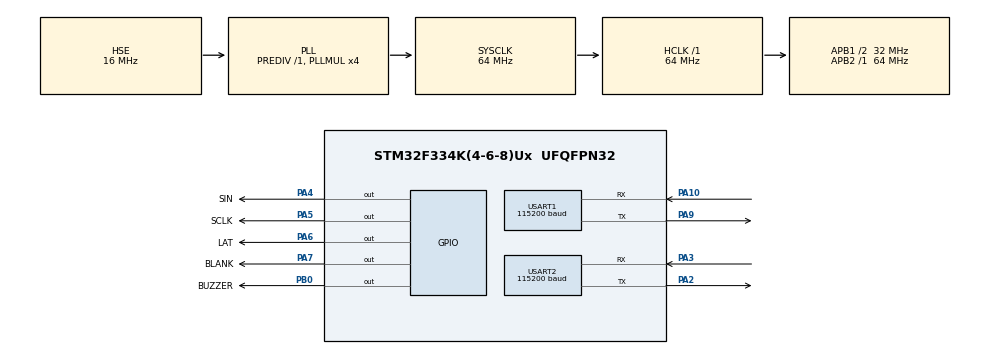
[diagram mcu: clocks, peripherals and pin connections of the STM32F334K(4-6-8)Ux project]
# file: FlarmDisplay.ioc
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Mcu.Family=STM32F3
Mcu.Name=STM32F334K(4-6-8)Ux
Mcu.Package=UFQFPN32
NVIC.PriorityGroup=NVIC_PRIORITYGROUP_4
PA10.Mode=Asynchronous
PA10.Signal=USART1_RX
PA13.Signal=SYS_JTMS-SWDIO
PA14.Signal=SYS_JTCK-SWCLK
PA2.Mode=Asynchronous
PA2.Signal=USART2_TX
PA3.Mode=Asynchronous
PA3.Signal=USART2_RX
PA4.GPIO_Label=SIN
PA4.GPIO_PuPd=GPIO_PULLDOWN
PA4.PinState=GPIO_PIN_RESET
PA4.Signal=GPIO_Output
PA5.GPIO_Label=SCLK
PA5.GPIO_PuPd=GPIO_PULLDOWN
PA5.PinState=GPIO_PIN_RESET
PA5.Signal=GPIO_Output
PA6.GPIO_Label=LAT
PA6.GPIO_PuPd=GPIO_PULLDOWN
PA6.PinState=GPIO_PIN_RESET
PA6.Signal=GPIO_Output
PA7.GPIO_Label=BLANK
PA7.GPIO_PuPd=GPIO_PULLDOWN
PA7.PinState=GPIO_PIN_RESET
PA7.Signal=GPIO_Output
PA9.Mode=Asynchronous
PA9.Signal=USART1_TX
PB0.GPIO_Label=BUZZER
PB0.GPIO_PuPd=GPIO_PULLDOWN
PB0.PinState=GPIO_PIN_RESET
PB0.Signal=GPIO_Output
PF0\ /\ OSC_IN.Mode=HSE-External-Oscillator
PF0\ /\ OSC_IN.Signal=RCC_OSC_IN
PF1\ /\ OSC_OUT.Mode=HSE-External-Oscillator
PF1\ /\ OSC_OUT.Signal=RCC_OSC_OUT
ProjectManager.HeapSize=0x200
ProjectManager.StackSize=0x400
ProjectManager.TargetToolchain=STM32CubeIDE
RCC.AHBFreq_Value=64000000
RCC.APB1CLKDivider=RCC_HCLK_DIV2
RCC.APB1Freq_Value=32000000
RCC.APB1TimFreq_Value=64000000
RCC.APB2Freq_Value=64000000
RCC.APB2TimFreq_Value=64000000
RCC.CortexFreq_Value=64000000
RCC.HCLKFreq_Value=64000000
RCC.HSE_VALUE=16000000
RCC.HSI_VALUE=8000000
RCC.PLLMUL=RCC_PLL_MUL4
RCC.PLLSourceVirtual=RCC_PLLSOURCE_HSE
RCC.SYSCLKFreq_VALUE=64000000
RCC.SYSCLKSourceVirtual=RCC_SYSCLKSOURCE_PLLCLK
USART1.BaudRate=115200
USART1.VirtualMode-Asynchronous=VM_ASYNC
USART2.BaudRate=115200
USART2.VirtualMode-Asynchronous=VM_ASYNC
board=custom

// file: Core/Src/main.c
/* USER CODE BEGIN Header */
/**
 ******************************************************************************
 * @file           : main.c
 * @brief          : Main program body
 ******************************************************************************
 * @attention
 *
 * Copyright (c) 2022 STMicroelectronics.
 * All rights reserved.
 *
 * This software is licensed under terms that can be found in the LICENSE file
 * in the root directory of this software component.
 * If no LICENSE file comes with this software, it is provided AS-IS.
 *
 ******************************************************************************
 */
/* USER CODE END Header */
#include "main.h"

/* USER CODE BEGIN Includes */
#include "flarm.h"
/* USER CODE END Includes */

UART_HandleTypeDef huart1;
UART_HandleTypeDef huart2;

/* USER CODE BEGIN PV */
struct LEDRegister LEDreg;
struct errorRegister errorReg;
enum errors errors;
/* USER CODE END PV */

void SystemClock_Config(void);
static void MX_GPIO_Init(void);
static void MX_USART1_UART_Init(void);
static void MX_USART2_UART_Init(void);
/* USER CODE BEGIN PFP */
void displayLEDBuffer(struct LEDRegister *reg);
void displayClockPulse();
void displayLatch();
void displayErrors();
/* USER CODE END PFP */

int main(void) {

	/* MCU Configuration--------------------------------------------------------*/

	/* Reset of all peripherals, Initializes the Flash interface and the Systick. */
	HAL_Init();

	/* Configure the system clock */
	SystemClock_Config();

	/* Initialize all configured peripherals */
	MX_GPIO_Init();
	MX_USART1_UART_Init();
	MX_USART2_UART_Init();
	/* USER CODE BEGIN 2 */

	uint8_t startMsg[] = "Starting...";
	HAL_UART_Transmit(&huart1, startMsg, sizeof(startMsg), 10);

	/* USER CODE END 2 */

	/* Infinite loop */
	/* USER CODE BEGIN WHILE */
	while (1) {
		//processPFLAE("$PFLAE,A,0,12,Supa message*50", &errorReg);
		LEDreg.R01 = 1;
		serializeLEDRegister(&LEDreg);
		displayLEDBuffer(&LEDreg);
		clearLEDRegister(&LEDreg);
		HAL_Delay(100);
		LEDreg.R02 = 1;
		serializeLEDRegister(&LEDreg);
		displayLEDBuffer(&LEDreg);
		clearLEDRegister(&LEDreg);
		HAL_Delay(100);
		LEDreg.R03 = 1;
		serializeLEDRegister(&LEDreg);
		displayLEDBuffer(&LEDreg);
		clearLEDRegister(&LEDreg);
		HAL_Delay(100);
		LEDreg.R04 = 1;
		serializeLEDRegister(&LEDreg);
		displayLEDBuffer(&LEDreg);
		clearLEDRegister(&LEDreg);
		HAL_Delay(100);
		LEDreg.R05 = 1;
		serializeLEDRegister(&LEDreg);
		displayLEDBuffer(&LEDreg);
		clearLEDRegister(&LEDreg);
		HAL_Delay(100);
		LEDreg.R06 = 1;
		serializeLEDRegister(&LEDreg);
		displayLEDBuffer(&LEDreg);
		clearLEDRegister(&LEDreg);
		HAL_Delay(100);
		LEDreg.R07 = 1;
		serializeLEDRegister(&LEDreg);
		displayLEDBuffer(&LEDreg);
		clearLEDRegister(&LEDreg);
		HAL_Delay(100);
		LEDreg.R08 = 1;
		serializeLEDRegister(&LEDreg);
		displayLEDBuffer(&LEDreg);
		clearLEDRegister(&LEDreg);
		HAL_Delay(100);
		LEDreg.R09 = 1;
		serializeLEDRegister(&LEDreg);
		displayLEDBuffer(&LEDreg);
		clearLEDRegister(&LEDreg);
		HAL_Delay(100);
		LEDreg.R10 = 1;
		serializeLEDRegister(&LEDreg);
		displayLEDBuffer(&LEDreg);
		clearLEDRegister(&LEDreg);
		HAL_Delay(100);
		LEDreg.R11 = 1;
		serializeLEDRegister(&LEDreg);
		displayLEDBuffer(&LEDreg);
		clearLEDRegister(&LEDreg);
		HAL_Delay(100);
		LEDreg.R12 = 1;
		serializeLEDRegister(&LEDreg);
		displayLEDBuffer(&LEDreg);
		clearLEDRegister(&LEDreg);
		HAL_Delay(100);
		LEDreg.Y01 = 1;
		serializeLEDRegister(&LEDreg);
		displayLEDBuffer(&LEDreg);
		clearLEDRegister(&LEDreg);
		HAL_Delay(100);
		LEDreg.Y02 = 1;
		serializeLEDRegister(&LEDreg);
		displayLEDBuffer(&LEDreg);
		clearLEDRegister(&LEDreg);
		HAL_Delay(100);
		LEDreg.Y03 = 1;
		serializeLEDRegister(&LEDreg);
		displayLEDBuffer(&LEDreg);
		clearLEDRegister(&LEDreg);
		HAL_Delay(100);
		LEDreg.Y04 = 1;
		serializeLEDRegister(&LEDreg);
		displayLEDBuffer(&LEDreg);
		clearLEDRegister(&LEDreg);
		HAL_Delay(100);
		LEDreg.Y05 = 1;
		serializeLEDRegister(&LEDreg);
		displayLEDBuffer(&LEDreg);
		clearLEDRegister(&LEDreg);
		HAL_Delay(100);
		LEDreg.Y06 = 1;
		serializeLEDRegister(&LEDreg);
		displayLEDBuffer(&LEDreg);
		clearLEDRegister(&LEDreg);
		HAL_Delay(100);
		LEDreg.Y07 = 1;
		serializeLEDRegister(&LEDreg);
		displayLEDBuffer(&LEDreg);
		clearLEDRegister(&LEDreg);
		HAL_Delay(100);
		LEDreg.Y08 = 1;
		serializeLEDRegister(&LEDreg);
		displayLEDBuffer(&LEDreg);
		clearLEDRegister(&LEDreg);
		HAL_Delay(100);
		LEDreg.Y09 = 1;
		serializeLEDRegister(&LEDreg);
		displayLEDBuffer(&LEDreg);
		clearLEDRegister(&LEDreg);
		HAL_Delay(100);
		LEDreg.Y10 = 1;
		serializeLEDRegister(&LEDreg);
		displayLEDBuffer(&LEDreg);
		clearLEDRegister(&LEDreg);
		HAL_Delay(100);
		LEDreg.Y11 = 1;
		serializeLEDRegister(&LEDreg);
		displayLEDBuffer(&LEDreg);
		clearLEDRegister(&LEDreg);
		HAL_Delay(100);
		LEDreg.Y12 = 1;
		serializeLEDRegister(&LEDreg);
		displayLEDBuffer(&LEDreg);
		clearLEDRegister(&LEDreg);
		HAL_Delay(100);
		LEDreg.GPS = 1;
		serializeLEDRegister(&LEDreg);
		displayLEDBuffer(&LEDreg);
		clearLEDRegister(&LEDreg);
		HAL_Delay(100);
		LEDreg.RX = 1;
		serializeLEDRegister(&LEDreg);
		displayLEDBuffer(&LEDreg);
		clearLEDRegister(&LEDreg);
		HAL_Delay(100);
		LEDreg.TX = 1;
		serializeLEDRegister(&LEDreg);
		displayLEDBuffer(&LEDreg);
		clearLEDRegister(&LEDreg);
		HAL_Delay(100);
		LEDreg.LL = 1;
		serializeLEDRegister(&LEDreg);
		displayLEDBuffer(&LEDreg);
		clearLEDRegister(&LEDreg);
		HAL_Delay(100);
		LEDreg.L = 1;
		serializeLEDRegister(&LEDreg);
		displayLEDBuffer(&LEDreg);
		clearLEDRegister(&LEDreg);
		HAL_Delay(100);
		LEDreg.M = 1;
		serializeLEDRegister(&LEDreg);
		displayLEDBuffer(&LEDreg);
		clearLEDRegister(&LEDreg);
		HAL_Delay(100);
		LEDreg.H = 1;
		serializeLEDRegister(&LEDreg);
		displayLEDBuffer(&LEDreg);
		clearLEDRegister(&LEDreg);
		HAL_Delay(100);
		LEDreg.HH = 1;
		serializeLEDRegister(&LEDreg);
		displayLEDBuffer(&LEDreg);
		clearLEDRegister(&LEDreg);
		HAL_Delay(100);
		/* USER CODE END WHILE */

	}
}

void SystemClock_Config(void) {
	RCC_OscInitTypeDef RCC_OscInitStruct = { 0 };
	RCC_ClkInitTypeDef RCC_ClkInitStruct = { 0 };
	RCC_PeriphCLKInitTypeDef PeriphClkInit = { 0 };

	/** Initializes the RCC Oscillators according to the specified parameters
	 * in the RCC_OscInitTypeDef structure.
	 */
	RCC_OscInitStruct.OscillatorType = RCC_OSCILLATORTYPE_HSE;
	RCC_OscInitStruct.HSEState = RCC_HSE_ON;
	RCC_OscInitStruct.HSEPredivValue = RCC_HSE_PREDIV_DIV1;
	RCC_OscInitStruct.HSIState = RCC_HSI_ON;
	RCC_OscInitStruct.PLL.PLLState = RCC_PLL_ON;
	RCC_OscInitStruct.PLL.PLLSource = RCC_PLLSOURCE_HSE;
	RCC_OscInitStruct.PLL.PLLMUL = RCC_PLL_MUL4;
	if (HAL_RCC_OscConfig(&RCC_OscInitStruct) != HAL_OK) {
		Error_Handler();
	}

	/** Initializes the CPU, AHB and APB buses clocks
	 */
	RCC_ClkInitStruct.ClockType = RCC_CLOCKTYPE_HCLK | RCC_CLOCKTYPE_SYSCLK
			| RCC_CLOCKTYPE_PCLK1 | RCC_CLOCKTYPE_PCLK2;
	RCC_ClkInitStruct.SYSCLKSource = RCC_SYSCLKSOURCE_PLLCLK;
	RCC_ClkInitStruct.AHBCLKDivider = RCC_SYSCLK_DIV1;
	RCC_ClkInitStruct.APB1CLKDivider = RCC_HCLK_DIV2;
	RCC_ClkInitStruct.APB2CLKDivider = RCC_HCLK_DIV1;

	if (HAL_RCC_ClockConfig(&RCC_ClkInitStruct, FLASH_LATENCY_2) != HAL_OK) {
		Error_Handler();
	}
	PeriphClkInit.PeriphClockSelection = RCC_PERIPHCLK_USART1;
	PeriphClkInit.Usart1ClockSelection = RCC_USART1CLKSOURCE_PCLK1;
	if (HAL_RCCEx_PeriphCLKConfig(&PeriphClkInit) != HAL_OK) {
		Error_Handler();
	}
}

static void MX_USART1_UART_Init(void) {

	huart1.Instance = USART1;
	huart1.Init.BaudRate = 115200;
	huart1.Init.WordLength = UART_WORDLENGTH_8B;
	huart1.Init.StopBits = UART_STOPBITS_1;
	huart1.Init.Parity = UART_PARITY_NONE;
	huart1.Init.Mode = UART_MODE_TX_RX;
	huart1.Init.HwFlowCtl = UART_HWCONTROL_NONE;
	huart1.Init.OverSampling = UART_OVERSAMPLING_16;
	huart1.Init.OneBitSampling = UART_ONE_BIT_SAMPLE_DISABLE;
	huart1.AdvancedInit.AdvFeatureInit = UART_ADVFEATURE_NO_INIT;
	if (HAL_UART_Init(&huart1) != HAL_OK) {
		Error_Handler();
	}

}

static void MX_USART2_UART_Init(void) {

	huart2.Instance = USART2;
	huart2.Init.BaudRate = 115200;
	huart2.Init.WordLength = UART_WORDLENGTH_8B;
	huart2.Init.StopBits = UART_STOPBITS_1;
	huart2.Init.Parity = UART_PARITY_NONE;
	huart2.Init.Mode = UART_MODE_TX_RX;
	huart2.Init.HwFlowCtl = UART_HWCONTROL_NONE;
	huart2.Init.OverSampling = UART_OVERSAMPLING_16;
	huart2.Init.OneBitSampling = UART_ONE_BIT_SAMPLE_DISABLE;
	huart2.AdvancedInit.AdvFeatureInit = UART_ADVFEATURE_NO_INIT;
	if (HAL_UART_Init(&huart2) != HAL_OK) {
		Error_Handler();
	}

}

static void MX_GPIO_Init(void) {
	GPIO_InitTypeDef GPIO_InitStruct = { 0 };

	/* GPIO Ports Clock Enable */
	__HAL_RCC_GPIOF_CLK_ENABLE();
	__HAL_RCC_GPIOA_CLK_ENABLE();
	__HAL_RCC_GPIOB_CLK_ENABLE();

	/*Configure GPIO pin Output Level */
	HAL_GPIO_WritePin(GPIOA, SIN_Pin | SCLK_Pin | LAT_Pin | BLANK_Pin,
			GPIO_PIN_RESET);

	/*Configure GPIO pin Output Level */
	HAL_GPIO_WritePin(BUZZER_GPIO_Port, BUZZER_Pin, GPIO_PIN_RESET);

	/*Configure GPIO pins : SIN_Pin SCLK_Pin LAT_Pin BLANK_Pin */
	GPIO_InitStruct.Pin = SIN_Pin | SCLK_Pin | LAT_Pin | BLANK_Pin;
	GPIO_InitStruct.Mode = GPIO_MODE_OUTPUT_PP;
	GPIO_InitStruct.Pull = GPIO_PULLDOWN;
	GPIO_InitStruct.Speed = GPIO_SPEED_FREQ_LOW;
	HAL_GPIO_Init(GPIOA, &GPIO_InitStruct);

	/*Configure GPIO pin : BUZZER_Pin */
	GPIO_InitStruct.Pin = BUZZER_Pin;
	GPIO_InitStruct.Mode = GPIO_MODE_OUTPUT_PP;
	GPIO_InitStruct.Pull = GPIO_PULLDOWN;
	GPIO_InitStruct.Speed = GPIO_SPEED_FREQ_LOW;
	HAL_GPIO_Init(BUZZER_GPIO_Port, &GPIO_InitStruct);

}

/* USER CODE BEGIN 4 */

void displayLEDBuffer(struct LEDRegister *reg) {
	for (int i = 0; i < LED_BUFFER_SIZE; i++) {
		if (reg->Buffer >> i & 1) {
			HAL_GPIO_WritePin(GPIOA, GPIO_PIN_4, GPIO_PIN_SET);
		} else {
			HAL_GPIO_WritePin(GPIOA, GPIO_PIN_4, GPIO_PIN_RESET);
		}
		displayClockPulse();
	}
	displayLatch();
}

void displayClockPulse() {
	HAL_GPIO_WritePin(GPIOA, GPIO_PIN_5, GPIO_PIN_SET);
	HAL_GPIO_WritePin(GPIOA, GPIO_PIN_5, GPIO_PIN_RESET);
}

void displayLatch() {
	HAL_GPIO_WritePin(GPIOA, GPIO_PIN_6, GPIO_PIN_SET);
	HAL_GPIO_WritePin(GPIOA, GPIO_PIN_6, GPIO_PIN_RESET);
}

void displayErrors() {
	if (FIRMWAREEXPIRED) {

	}
}

/* USER CODE END 4 */

void Error_Handler(void) {
	__disable_irq();
	while (1) {
	}
}
